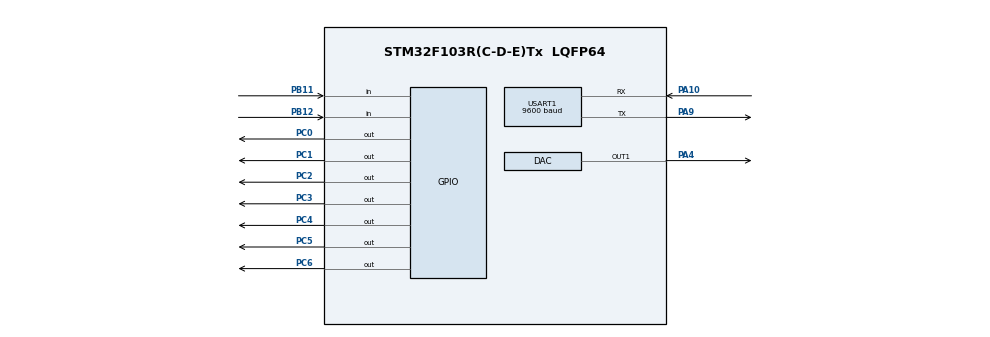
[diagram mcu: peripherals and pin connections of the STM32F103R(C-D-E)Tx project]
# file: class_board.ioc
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Mcu.Family=STM32F1
Mcu.Name=STM32F103R(C-D-E)Tx
Mcu.Package=LQFP64
NVIC.PriorityGroup=NVIC_PRIORITYGROUP_4
NVIC.TIM3_IRQn=true\:0\:0\:false\:false\:true\:true\:true
NVIC.USART1_IRQn=true\:0\:0\:false\:false\:true\:true\:true
PA10.Mode=Asynchronous
PA10.Signal=USART1_RX
PA4.Signal=COMP_DAC1_group
PA9.Mode=Asynchronous
PA9.Signal=USART1_TX
PB11.Signal=GPIO_Input
PB12.Signal=GPIO_Input
PC0.Signal=GPIO_Output
PC1.Signal=GPIO_Output
PC2.Signal=GPIO_Output
PC3.Signal=GPIO_Output
PC4.Signal=GPIO_Output
PC5.Signal=GPIO_Output
PC6.Signal=GPIO_Output
ProjectManager.HeapSize=0x200
ProjectManager.StackSize=0x400
ProjectManager.TargetToolchain=STM32CubeIDE
RCC.APB1Freq_Value=8000000
RCC.APB2Freq_Value=8000000
SH.COMP_DAC1_group.0=DAC_OUT1,DAC_OUT1
TIM3.Period=200 - 1
TIM3.Prescaler=0
USART1.BaudRate=9600
USART1.VirtualMode=VM_ASYNC
VP_SYS_VS_ND.Mode=No_Debug
VP_TIM3_VS_ClockSourceINT.Mode=Internal
board=custom

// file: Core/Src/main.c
/* USER CODE BEGIN Header */
/**
  ******************************************************************************
  * @file           : main.c
  * @brief          : Main program body
  ******************************************************************************
  * @attention
  *
  * Copyright (c) 2022 STMicroelectronics.
  * All rights reserved.
  *
  * This software is licensed under terms that can be found in the LICENSE file
  * in the root directory of this software component.
  * If no LICENSE file comes with this software, it is provided AS-IS.
  *
  ******************************************************************************
  */
/* USER CODE END Header */
#include "main.h"

/* USER CODE BEGIN Includes */
#include "APP.h"

#include <stdio.h>
#include <stdbool.h>

/* USER CODE END Includes */

DAC_HandleTypeDef hdac;

TIM_HandleTypeDef htim3;

UART_HandleTypeDef huart1;

void SystemClock_Config(void);
static void MX_GPIO_Init(void);
static void MX_TIM3_Init(void);
static void MX_DAC_Init(void);
static void MX_USART1_UART_Init(void);

/* USER CODE BEGIN 0 */

// buttons
uint32_t button1_ms = 0;
bool button1_flag = true;
uint32_t button2_ms = 0;
bool button2_flag = true;

/* USER CODE END 0 */

int main(void)
{

  /* MCU Configuration--------------------------------------------------------*/

  /* Reset of all peripherals, Initializes the Flash interface and the Systick. */
  HAL_Init();

  /* Configure the system clock */
  SystemClock_Config();

  /* Initialize all configured peripherals */
  MX_GPIO_Init();
  MX_TIM3_Init();
  MX_DAC_Init();
  MX_USART1_UART_Init();
  /* USER CODE BEGIN 2 */
  APP_init();
  APP_lcdMenuUpdate();

  /* USER CODE END 2 */

  /* Infinite loop */
  /* USER CODE BEGIN WHILE */
  while (1)
  {
	  // check UART for incomming commands
	  APP_UARTMenuSelect();

	  // button 1 (change option)
	  if(button1_flag){
		  if(HAL_GPIO_ReadPin(GPIOB, GPIO_PIN_11) == GPIO_PIN_SET){
			  button1_ms = HAL_GetTick();
			  button1_flag = false;

			  //code
			  APP_menuNextOption();
		  }
	  } else if (HAL_GetTick() - button1_ms > (200 - 1)){
		  button1_flag = true;
	  }

	  // button 2 (select option)
	  if(button2_flag){
		  if(HAL_GPIO_ReadPin(GPIOB, GPIO_PIN_12) == GPIO_PIN_SET){
			  button2_ms = HAL_GetTick();
			  button2_flag = false;

			  //code
			  APP_menuSelectOption();
		  }
	  } else if (HAL_GetTick() - button2_ms > (200 - 1)){
		  button2_flag = true;
	  }
    /* USER CODE END WHILE */

  }
}

void SystemClock_Config(void)
{
  RCC_OscInitTypeDef RCC_OscInitStruct = {0};
  RCC_ClkInitTypeDef RCC_ClkInitStruct = {0};

  /** Initializes the RCC Oscillators according to the specified parameters
  * in the RCC_OscInitTypeDef structure.
  */
  RCC_OscInitStruct.OscillatorType = RCC_OSCILLATORTYPE_HSI;
  RCC_OscInitStruct.HSIState = RCC_HSI_ON;
  RCC_OscInitStruct.HSICalibrationValue = RCC_HSICALIBRATION_DEFAULT;
  RCC_OscInitStruct.PLL.PLLState = RCC_PLL_NONE;
  if (HAL_RCC_OscConfig(&RCC_OscInitStruct) != HAL_OK)
  {
    Error_Handler();
  }
  /** Initializes the CPU, AHB and APB buses clocks
  */
  RCC_ClkInitStruct.ClockType = RCC_CLOCKTYPE_HCLK|RCC_CLOCKTYPE_SYSCLK
                              |RCC_CLOCKTYPE_PCLK1|RCC_CLOCKTYPE_PCLK2;
  RCC_ClkInitStruct.SYSCLKSource = RCC_SYSCLKSOURCE_HSI;
  RCC_ClkInitStruct.AHBCLKDivider = RCC_SYSCLK_DIV1;
  RCC_ClkInitStruct.APB1CLKDivider = RCC_HCLK_DIV1;
  RCC_ClkInitStruct.APB2CLKDivider = RCC_HCLK_DIV1;

  if (HAL_RCC_ClockConfig(&RCC_ClkInitStruct, FLASH_LATENCY_0) != HAL_OK)
  {
    Error_Handler();
  }
}

static void MX_DAC_Init(void)
{

  DAC_ChannelConfTypeDef sConfig = {0};

  /** DAC Initialization
  */
  hdac.Instance = DAC;
  if (HAL_DAC_Init(&hdac) != HAL_OK)
  {
    Error_Handler();
  }
  /** DAC channel OUT1 config
  */
  sConfig.DAC_Trigger = DAC_TRIGGER_NONE;
  sConfig.DAC_OutputBuffer = DAC_OUTPUTBUFFER_ENABLE;
  if (HAL_DAC_ConfigChannel(&hdac, &sConfig, DAC_CHANNEL_1) != HAL_OK)
  {
    Error_Handler();
  }

}

static void MX_TIM3_Init(void)
{

  TIM_ClockConfigTypeDef sClockSourceConfig = {0};
  TIM_MasterConfigTypeDef sMasterConfig = {0};

  htim3.Instance = TIM3;
  htim3.Init.Prescaler = 0;
  htim3.Init.CounterMode = TIM_COUNTERMODE_UP;
  htim3.Init.Period = 200 - 1;
  htim3.Init.ClockDivision = TIM_CLOCKDIVISION_DIV1;
  htim3.Init.AutoReloadPreload = TIM_AUTORELOAD_PRELOAD_DISABLE;
  if (HAL_TIM_Base_Init(&htim3) != HAL_OK)
  {
    Error_Handler();
  }
  sClockSourceConfig.ClockSource = TIM_CLOCKSOURCE_INTERNAL;
  if (HAL_TIM_ConfigClockSource(&htim3, &sClockSourceConfig) != HAL_OK)
  {
    Error_Handler();
  }
  sMasterConfig.MasterOutputTrigger = TIM_TRGO_RESET;
  sMasterConfig.MasterSlaveMode = TIM_MASTERSLAVEMODE_DISABLE;
  if (HAL_TIMEx_MasterConfigSynchronization(&htim3, &sMasterConfig) != HAL_OK)
  {
    Error_Handler();
  }

}

static void MX_USART1_UART_Init(void)
{

  huart1.Instance = USART1;
  huart1.Init.BaudRate = 9600;
  huart1.Init.WordLength = UART_WORDLENGTH_8B;
  huart1.Init.StopBits = UART_STOPBITS_1;
  huart1.Init.Parity = UART_PARITY_NONE;
  huart1.Init.Mode = UART_MODE_TX_RX;
  huart1.Init.HwFlowCtl = UART_HWCONTROL_NONE;
  huart1.Init.OverSampling = UART_OVERSAMPLING_16;
  if (HAL_UART_Init(&huart1) != HAL_OK)
  {
    Error_Handler();
  }

}

static void MX_GPIO_Init(void)
{
  GPIO_InitTypeDef GPIO_InitStruct = {0};

  /* GPIO Ports Clock Enable */
  __HAL_RCC_GPIOC_CLK_ENABLE();
  __HAL_RCC_GPIOA_CLK_ENABLE();
  __HAL_RCC_GPIOB_CLK_ENABLE();

  /*Configure GPIO pin Output Level */
  HAL_GPIO_WritePin(GPIOC, GPIO_PIN_0|GPIO_PIN_1|GPIO_PIN_2|GPIO_PIN_3
                          |GPIO_PIN_4|GPIO_PIN_5|GPIO_PIN_6, GPIO_PIN_RESET);

  /*Configure GPIO pins : PC0 PC1 PC2 PC3
                           PC4 PC5 PC6 */
  GPIO_InitStruct.Pin = GPIO_PIN_0|GPIO_PIN_1|GPIO_PIN_2|GPIO_PIN_3
                          |GPIO_PIN_4|GPIO_PIN_5|GPIO_PIN_6;
  GPIO_InitStruct.Mode = GPIO_MODE_OUTPUT_PP;
  GPIO_InitStruct.Pull = GPIO_NOPULL;
  GPIO_InitStruct.Speed = GPIO_SPEED_FREQ_LOW;
  HAL_GPIO_Init(GPIOC, &GPIO_InitStruct);

  /*Configure GPIO pins : PB11 PB12 */
  GPIO_InitStruct.Pin = GPIO_PIN_11|GPIO_PIN_12;
  GPIO_InitStruct.Mode = GPIO_MODE_INPUT;
  GPIO_InitStruct.Pull = GPIO_NOPULL;
  HAL_GPIO_Init(GPIOB, &GPIO_InitStruct);

}

void Error_Handler(void)
{
  __disable_irq();
  while (1)
  {
  }
}
